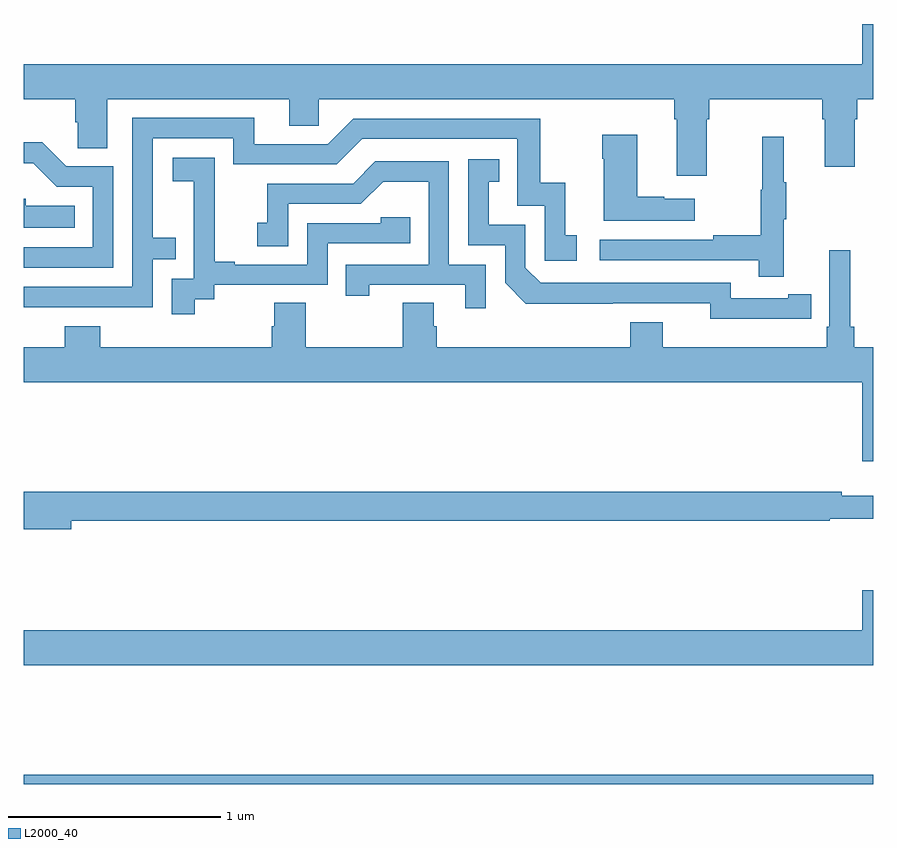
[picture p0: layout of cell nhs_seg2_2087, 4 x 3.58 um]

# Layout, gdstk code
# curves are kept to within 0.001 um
import gdstk
lib = gdstk.Library(unit=1e-6, precision=1e-09)
def R(c, l, rs):  # rectangles x0, y0, x1, y1
    for r in rs: c.add(gdstk.rectangle(r[:2], r[2:], *l))
def P(c, l, *ps):  # polygons
    for p in ps: c.add(gdstk.Polygon(p, *l))
L2000_40 = (2000, 40)

nhs_seg2_2087 = lib.new_cell('nhs_seg2_2087')
R(nhs_seg2_2087, L2000_40, [(221,589.8,225,589.844)])
P(nhs_seg2_2087, L2000_40, [(221,593.024),(221.243,593.024),(221.243,592.915),(221.256,592.915),(221.256,592.792),(221.395,592.792),(221.395,593.024),(222.251,593.024),(222.251,592.897),(222.39,592.897),(222.39,593.024),(224.063,593.024),(224.063,592.928),(224.075,592.928),(224.075,592.662),(224.215,592.662),(224.215,592.928),(224.228,592.928),(224.228,593.024),(224.759,593.024),(224.759,592.928),(224.771,592.928),(224.771,592.704),(224.911,592.704),(224.911,592.928),(224.924,592.928),(224.924,593.024),(225,593.024),(225,593.377),(224.948,593.377),(224.948,593.188),(221,593.188)],
  [(221.111,592.044),(221.607,592.044),(221.607,592.269),(221.717,592.269),(221.717,592.37),(221.607,592.37),(221.607,592.839),(221.988,592.839),(221.988,592.716),(222.474,592.716),(222.594,592.836),(223.323,592.836),(223.323,592.521),(223.452,592.521),(223.452,592.263),(223.603,592.263),(223.603,592.383),(223.55,592.383),(223.55,592.63),(223.432,592.63),(223.432,592.932),(222.552,592.932),(222.432,592.812),(222.085,592.812),(222.085,592.935),(221.511,592.935),(221.511,592.14),(221,592.14),(221,592.043)],
  [(224.158,592.555),(224.015,592.555),(224.015,592.565),(223.888,592.565),(223.888,592.855),(223.723,592.855),(223.723,592.742),(223.73,592.742),(223.73,592.451),(224.158,592.451)],
  [(224.579,592.459),(224.59,592.459),(224.59,592.633),(224.579,592.633),(224.579,592.846),(224.476,592.846),(224.476,592.596),(224.469,592.596),(224.469,592.382),(224.245,592.382),(224.245,592.362),(223.713,592.362),(223.713,592.266),(224.461,592.266),(224.461,592.188),(224.579,592.188)],
  [(221.421,592.707),(221.202,592.707),(221.089,592.82),(221,592.82),(221,592.722),(221.045,592.722),(221.156,592.611),(221.325,592.611),(221.325,592.326),(221,592.326),(221,592.23),(221.421,592.23)],
  [(221.806,592.081),(221.898,592.081),(221.898,592.149),(222.432,592.149),(222.432,592.344),(222.821,592.344),(222.821,592.467),(222.681,592.467),(222.681,592.44),(222.336,592.44),(222.336,592.245),(221.995,592.245),(221.995,592.258),(221.9,592.258),(221.9,592.541),(221.901,592.541),(221.901,592.747),(221.703,592.747),(221.703,592.637),(221.801,592.637),(221.801,592.409),(221.802,592.409),(221.802,592.179),(221.697,592.179),(221.697,592.011),(221.806,592.011)],
  [(224.6,591.99),(224.708,591.99),(224.708,592.106),(224.6,592.106),(224.6,592.086),(224.328,592.086),(224.328,592.158),(223.434,592.158),(223.362,592.23),(223.362,592.431),(223.189,592.431),(223.189,592.635),(223.238,592.635),(223.238,592.741),(223.092,592.741),(223.092,592.335),(223.266,592.335),(223.266,592.158),(223.364,592.061),(224.232,592.062),(224.232,591.989)],
  [(223.176,592.245),(223.002,592.245),(223.002,592.731),(222.656,592.731),(222.551,592.626),(222.148,592.626),(222.148,592.441),(222.099,592.441),(222.099,592.332),(222.246,592.332),(222.246,592.53),(222.588,592.53),(222.692,592.634),(222.906,592.634),(222.906,592.245),(222.517,592.245),(222.517,592.098),(222.628,592.098),(222.628,592.149),(223.079,592.149),(223.079,592.038),(223.176,592.038)],
  [(221.24,592.522),(221.01,592.522),(221.01,592.554),(221,592.554),(221,592.418),(221.24,592.418)],
  [(225,591.856),(224.909,591.856),(224.909,591.952),(224.89,591.952),(224.89,592.312),(224.793,592.312),(224.793,591.952),(224.78,591.952),(224.78,591.856),(224.008,591.856),(224.008,591.973),(223.856,591.973),(223.856,591.856),(222.944,591.856),(222.944,591.954),(222.931,591.954),(222.931,592.064),(222.784,592.064),(222.784,591.856),(222.327,591.856),(222.327,592.064),(222.179,592.064),(222.179,591.954),(222.167,591.954),(222.167,591.856),(221.36,591.856),(221.36,591.955),(221.195,591.955),(221.195,591.856),(221,591.856),(221,591.692),(224.948,591.692),(224.948,591.318),(225,591.318)],
  [(221.224,591.04),(224.794,591.04),(224.794,591.048),(225,591.048),(225,591.157),(224.852,591.157),(224.852,591.176),(221,591.176),(221,590.998),(221.224,590.998)],
  [(225,590.713),(224.948,590.713),(224.948,590.524),(221,590.524),(221,590.36),(225,590.36)])

lib.write_gds('nhs_seg2_2087.gds')
